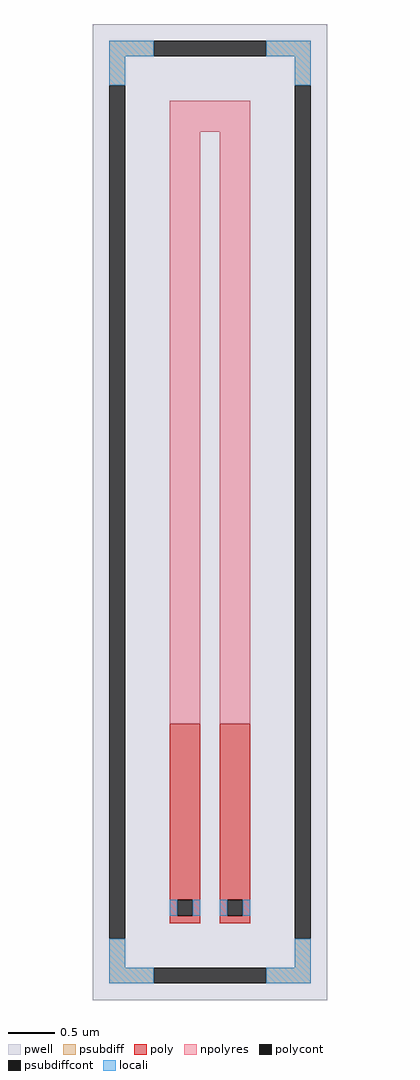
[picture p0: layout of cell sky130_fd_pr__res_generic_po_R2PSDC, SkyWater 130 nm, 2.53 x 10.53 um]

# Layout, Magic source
magic
tech sky130B
magscale 1 2
<< pwell >>
rect -253 -1053 253 1053
<< psubdiff >>
rect -217 983 -121 1017
rect 121 983 217 1017
rect -217 921 -183 983
rect 183 921 217 983
rect -217 -983 -183 -921
rect 183 -983 217 -921
rect -217 -1017 -121 -983
rect 121 -1017 217 -983
<< psubdiffcont >>
rect -121 983 121 1017
rect -217 -921 -183 921
rect 183 -921 217 921
rect -121 -1017 121 -983
<< poly >>
rect -87 -837 -21 -457
rect -87 -871 -71 -837
rect -37 -871 -21 -837
rect -87 -887 -21 -871
rect 21 -837 87 -457
rect 21 -871 37 -837
rect 71 -871 87 -837
rect 21 -887 87 -871
<< polycont >>
rect -71 -871 -37 -837
rect 37 -871 71 -837
<< npolyres >>
rect -87 821 87 887
rect -87 -457 -21 821
rect 21 -457 87 821
<< locali >>
rect -217 983 -121 1017
rect 121 983 217 1017
rect -217 921 -183 983
rect 183 921 217 983
rect -87 -871 -71 -837
rect -37 -871 -21 -837
rect 21 -871 37 -837
rect 71 -871 87 -837
rect -217 -983 -183 -921
rect 183 -983 217 -921
rect -217 -1017 -121 -983
rect 121 -1017 217 -983
<< properties >>
string FIXED_BBOX -200 -1000 200 1000
string gencell sky130_fd_pr__res_generic_po
string library sky130
string parameters w .33 l 6.2 m 1 nx 2 wmin 0.330 lmin 1.650 rho 48.2 val 1.917k dummy 0 dw 0.0 term 0.0 sterm 0.0 caplen 0.4 snake 1 guard 1 glc 1 grc 1 gtc 1 gbc 1 roverlap 0 endcov 100 full_metal 1 hv_guard 0 n_guard 0 vias 1 viagb 0 viagt 0 viagl 0 viagr 0
<< end >>
